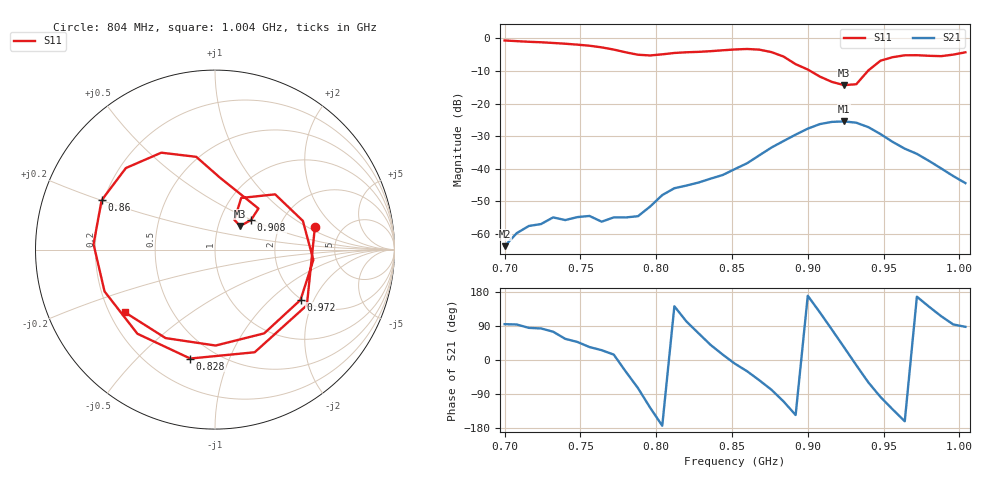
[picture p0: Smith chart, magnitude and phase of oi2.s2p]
# Hz S RI R 50
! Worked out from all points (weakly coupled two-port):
!   39 points, 700 MHz to 1.004 GHz, reference 50 ohm
!   highest |S21| = -25.51 dB at 924 MHz (marker M1); lowest = -63.8 dB at 700 MHz (marker M2)
!   lowest |S11| = -14.3 dB at 924 MHz (marker M3), VSWR 1.47, Z = 63.5 + j17.4 ohm
!   |S11| at or under -10 dB: 901.7 MHz to 939.7 MHz (37.99 MHz wide, 4.13 % of centre)
!   S12 and S22 are empty: the file has one direction only
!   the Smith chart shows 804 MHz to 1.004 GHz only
!   S11 on the Smith chart (normalised r, x): 804 MHz: 3.18, +1.17; 828 MHz: 0.37, -0.73; 860 MHz: 0.19, +0.20; 908 MHz: 1.40, +0.49; 972 MHz: 1.97, -1.59; 1.004 GHz: 0.26, -0.29
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7e8  0.7682 0.5268  -5.1e-05 0.00064  0 0  0 0
7.24e8  0.8342 -0.2597  0.000165 0.0014  0 0  0 0
7.4e8  0.4424 -0.702  0.000909 0.00134  0 0  0 0
7.56e8  -0.1959 -0.7479  0.00155 0.00105  0 0  0 0
7.72e8  -0.6487 -0.186  0.00172 0.000439  0 0  0 0
7.8e8  -0.565 0.2342  0.00152 -0.000913  0 0  0 0
7.88e8  -0.2116 0.5205  0.000506 -0.00178  0 0  0 0
7.96e8  0.2612 0.4815  -0.00152 -0.00212  0 0  0 0
8.04e8  0.5564 0.1238  -0.00389 -0.000442  0 0  0 0
8.2e8  0.2211 -0.572  -0.00109 0.00538  0 0  0 0
8.28e8  -0.1379 -0.6069  0.00206 0.00575  0 0  0 0
8.52e8  -0.6766 0.0301  0.00971 -0.00169  0 0  0 0
8.6e8  -0.6317 0.2751  0.0105 -0.00599  0 0  0 0
8.76e8  -0.2993 0.54  0.00424 -0.0206  0 0  0 0
9e8  0.2421 0.2289  -0.0404 0.0075  0 0  0 0
9.08e8  0.2005 0.1647  -0.0281 0.0393  0 0  0 0
9.24e8  0.139 0.1321  0.0443 0.0291  0 0  0 0
9.4e8  0.1461 0.2878  0.0221 -0.0372  0 0  0 0
9.56e8  0.4896 0.16  -0.0166 -0.0196  0 0  0 0
9.72e8  0.4768 -0.2799  -0.0164 0.00377  0 0  0 0
9.88e8  0.00329 -0.5345  -0.00436 0.00907  0 0  0 0
1.004e9  -0.5036 -0.3483  0.000249 0.00598  0 0  0 0
